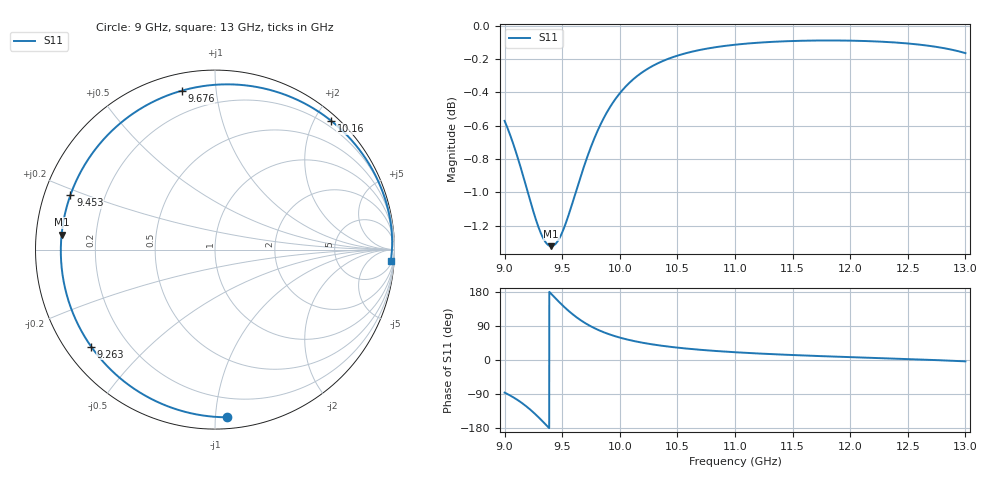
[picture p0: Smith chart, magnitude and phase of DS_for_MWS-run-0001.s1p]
! TOUCHSTONE file generated by CST DESIGN STUDIO
! Date and time: Wed Feb  5 13:34:17 2025
! Project name: C:\Work\MatlabApps\UnitCellOptimizationMatlab\CST\unitcell.cst
! Tree item: Tasks\Sweep1\SPara1\S-Parameters
! Header version: 2024
! Port assignment regex: !\s*Touchstone port\s*([0-9]+)\s*=\s*(CST MWS port|CST DES external port|CST DES block port)\s*(.+)\s* \(\"(.*)\"\)(\s*mode\s*([0-9]+))?.*
! Touchstone port assignment:
! Touchstone port 1 = CST DES external port 1 ("")
# GHz S MA R 50
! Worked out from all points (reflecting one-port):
!   4001 points, 9 GHz to 13 GHz, reference 50 ohm
!   lowest |S11| = -1.3 dB at 9.405 GHz (marker M1), VSWR 13.16, Z = 3.81 + j2.43 ohm
!   phase of S11 starts at -86 deg and turns -277 deg over the sweep
!   S11 on the Smith chart (normalised r, x): 9 GHz: 0.07, -1.07; 9.263 GHz: 0.07, -0.34; 9.453 GHz: 0.08, +0.18; 9.676 GHz: 0.08, +0.81; 10.16 GHz: 0.10, +2.25; 13 GHz: 9, -29
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9  0.9365 -86.1
9.076  0.9215 -98.5
9.142  0.9061 -111.6
9.203  0.8909 -125.9
9.263  0.8765 -141.9
9.302  0.8686 -153.3
9.337  0.8632 -164.1
9.371  0.8599 -174.8
9.405  0.8587 174.4
9.453  0.861 159.3
9.5  0.867 145.1
9.543  0.8749 133.0
9.586  0.8841 121.8
9.63  0.8942 111.5
9.676  0.9045 101.9
9.747  0.9192 89.1
9.832  0.934 76.8
9.913  0.9452 67.3
10  0.9545 59.1
10.157  0.9663 47.9
10.313  0.9738 39.8
10.5  0.9796 32.6
10.723  0.9839 26.3
11  0.9871 20.5
11.5  0.9896 13.1
12  0.9898 7.5
12.5  0.9879 2.4
13  0.9813 -3.6
